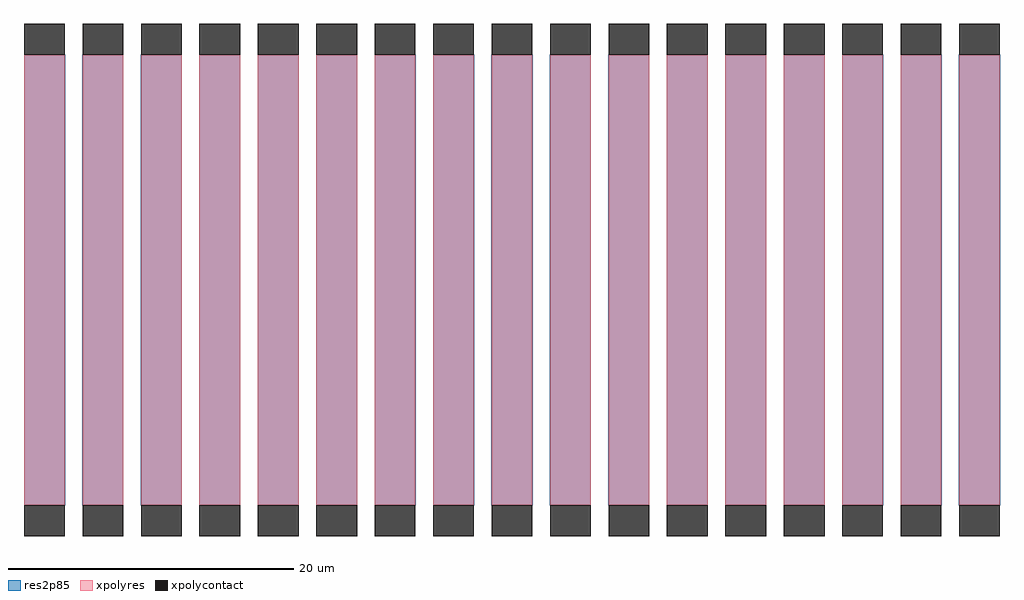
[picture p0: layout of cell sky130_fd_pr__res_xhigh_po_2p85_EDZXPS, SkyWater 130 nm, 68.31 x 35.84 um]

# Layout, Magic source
magic
tech sky130A
magscale 1 2
<< xpolycontact >>
rect -6829 3152 -6259 3584
rect -6829 -3584 -6259 -3152
rect -6011 3152 -5441 3584
rect -6011 -3584 -5441 -3152
rect -5193 3152 -4623 3584
rect -5193 -3584 -4623 -3152
rect -4375 3152 -3805 3584
rect -4375 -3584 -3805 -3152
rect -3557 3152 -2987 3584
rect -3557 -3584 -2987 -3152
rect -2739 3152 -2169 3584
rect -2739 -3584 -2169 -3152
rect -1921 3152 -1351 3584
rect -1921 -3584 -1351 -3152
rect -1103 3152 -533 3584
rect -1103 -3584 -533 -3152
rect -285 3152 285 3584
rect -285 -3584 285 -3152
rect 533 3152 1103 3584
rect 533 -3584 1103 -3152
rect 1351 3152 1921 3584
rect 1351 -3584 1921 -3152
rect 2169 3152 2739 3584
rect 2169 -3584 2739 -3152
rect 2987 3152 3557 3584
rect 2987 -3584 3557 -3152
rect 3805 3152 4375 3584
rect 3805 -3584 4375 -3152
rect 4623 3152 5193 3584
rect 4623 -3584 5193 -3152
rect 5441 3152 6011 3584
rect 5441 -3584 6011 -3152
rect 6259 3152 6829 3584
rect 6259 -3584 6829 -3152
<< xpolyres >>
rect -6829 -3152 -6259 3152
rect -6011 -3152 -5441 3152
rect -5193 -3152 -4623 3152
rect -4375 -3152 -3805 3152
rect -3557 -3152 -2987 3152
rect -2739 -3152 -2169 3152
rect -1921 -3152 -1351 3152
rect -1103 -3152 -533 3152
rect -285 -3152 285 3152
rect 533 -3152 1103 3152
rect 1351 -3152 1921 3152
rect 2169 -3152 2739 3152
rect 2987 -3152 3557 3152
rect 3805 -3152 4375 3152
rect 4623 -3152 5193 3152
rect 5441 -3152 6011 3152
rect 6259 -3152 6829 3152
<< res2p85 >>
rect -6831 -3154 -6257 3154
rect -6013 -3154 -5439 3154
rect -5195 -3154 -4621 3154
rect -4377 -3154 -3803 3154
rect -3559 -3154 -2985 3154
rect -2741 -3154 -2167 3154
rect -1923 -3154 -1349 3154
rect -1105 -3154 -531 3154
rect -287 -3154 287 3154
rect 531 -3154 1105 3154
rect 1349 -3154 1923 3154
rect 2167 -3154 2741 3154
rect 2985 -3154 3559 3154
rect 3803 -3154 4377 3154
rect 4621 -3154 5195 3154
rect 5439 -3154 6013 3154
rect 6257 -3154 6831 3154
<< properties >>
string gencell sky130_fd_pr__res_xhigh_po_2p85
string parameters w 2.850 l 31.52 m 1 nx 17 wmin 2.850 lmin 0.50 rho 2000 val 22.132k dummy 0 dw 0.0 term 19.188 sterm 0.0 caplen 0 wmax 2.850 guard 0 glc 1 grc 1 gtc 1 gbc 1 compatible {sky130_fd_pr__res_xhigh_po_0p35  sky130_fd_pr__res_xhigh_po_0p69 sky130_fd_pr__res_xhigh_po_1p41  sky130_fd_pr__res_xhigh_po_2p85 sky130_fd_pr__res_xhigh_po_5p73} full_metal 0 n_guard 0 hv_guard 0 vias 0 viagb 0 viagt 0 viagl 0 viagr 0
string library sky130
<< end >>
